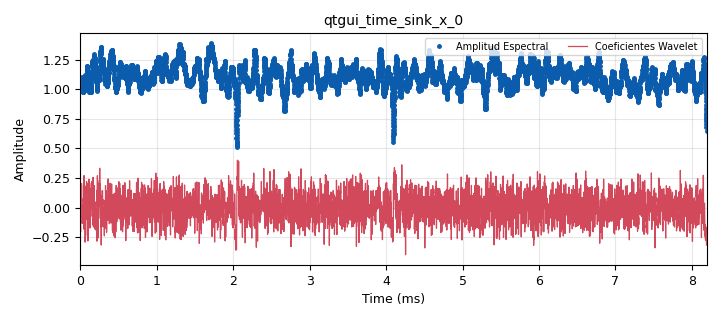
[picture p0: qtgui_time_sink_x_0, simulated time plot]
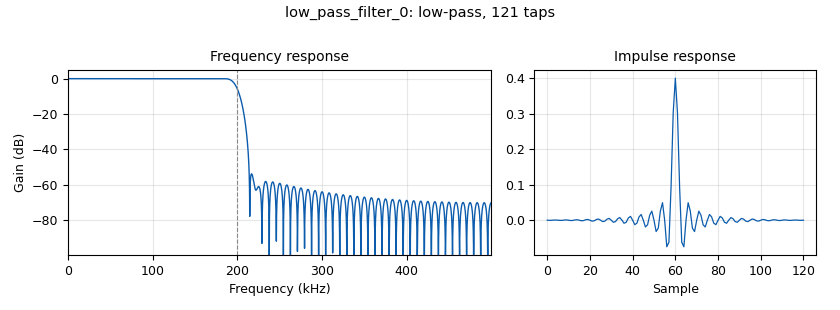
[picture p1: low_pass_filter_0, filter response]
options:
  parameters:
    generate_options: qt_gui
    id: practica1
    output_language: python
    title: Not titled yet
  states: {}

blocks:
- name: samp_rate
  id: variable
  parameters:
    value: '1000000'
  states: {}
- name: analog_noise_source_x_0
  id: analog_noise_source_x
  parameters:
    amp: '1'
    noise_type: analog.GR_GAUSSIAN
    seed: '0'
    type: complex
  states: {}
- name: analog_noise_source_x_1
  id: analog_noise_source_x
  parameters:
    amp: '0.01'
    noise_type: analog.GR_GAUSSIAN
    seed: '0'
    type: complex
  states: {}
- name: analog_sig_source_x_0
  id: analog_sig_source_x
  parameters:
    amp: '1'
    freq: '100000'
    offset: '0'
    phase: '0'
    samp_rate: samp_rate
    type: complex
    waveform: analog.GR_COS_WAVE
  states: {}
- name: blocks_add_xx_0
  id: blocks_add_xx
  parameters:
    num_inputs: '3'
    type: complex
  states: {}
- name: blocks_throttle_0
  id: blocks_throttle
  parameters:
    samples_per_second: samp_rate
    type: complex
  states: {}
- name: epy_block_0
  id: epy_block
  parameters:
    _source_code: |
      import numpy as np
      from gnuradio import gr

      class blk(gr.sync_block):
          def __init__(self, scale=50.0):
              gr.sync_block.__init__(self,
                  name='Wavelet Edge Detector',
                  in_sig=[np.complex64],
                  out_sig=[np.float32, np.float32]
              )
              self.scale = scale

          def work(self, input_items, output_items):
              in0 = input_items[0]
              mag = np.abs(in0)
              
              # Escala de suavizado (como la escala wavelet del paper)
              window = int(self.scale)
              if window < 2: window = 2
              
              # 1. Suavizado (Línea Amarilla)
              smooth = np.convolve(mag, np.ones(window)/window, mode='same')
              
              # 2. Bordes (Línea Roja) - Calculamos el cambio (gradiente)
              # Dividimos por la escala para que el pico no sea gigante
              edges = np.gradient(smooth) * 10.0 
              
              # Salidas
              output_items[0][:] = smooth
              output_items[1][:] = edges
              
              # DEBUG: Imprime un mensaje en la terminal para saber que está funcionando
              # print("Procesando... Amplitud max:", np.max(smooth))
              
              return len(output_items[0])
    scale: '50'
  states: {}
- name: low_pass_filter_0
  id: low_pass_filter
  parameters:
    cutoff_freq: '200000'
    decim: '1'
    gain: '1'
    samp_rate: samp_rate
    type: fir_filter_ccf
    width: '20000'
    win: window.WIN_HAMMING
  states: {}
- name: qtgui_time_sink_x_0
  id: qtgui_time_sink_x
  parameters:
    autoscale: 'True'
    color1: green
    label1: Amplitud Espectral
    label2: 'Coeficientes Wavelet '
    nconnections: '2'
    size: '8192'
    srate: samp_rate
    style1: '0'
    tr_mode: qtgui.TRIG_MODE_AUTO
    type: float
    width1: '2'
    ymax: '5'
    ymin: '-0.5'
  states: {}

connections:
- [analog_noise_source_x_0, '0', low_pass_filter_0, '0']
- [analog_noise_source_x_1, '0', blocks_add_xx_0, '2']
- [analog_sig_source_x_0, '0', blocks_add_xx_0, '0']
- [blocks_add_xx_0, '0', blocks_throttle_0, '0']
- [blocks_throttle_0, '0', epy_block_0, '0']
- [epy_block_0, '0', qtgui_time_sink_x_0, '0']
- [epy_block_0, '1', qtgui_time_sink_x_0, '1']
- [low_pass_filter_0, '0', blocks_add_xx_0, '1']

metadata:
  file_format: 1
